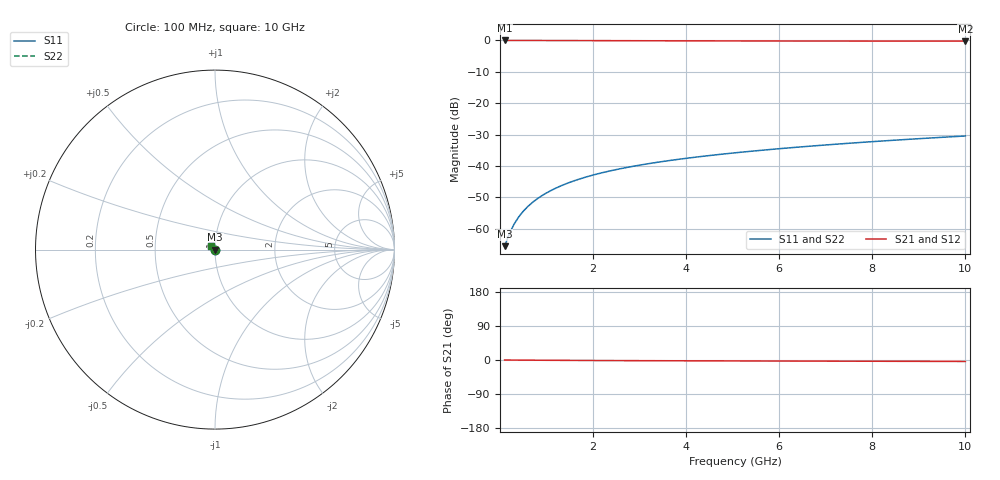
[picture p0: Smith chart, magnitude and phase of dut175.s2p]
! Touchstone file exported from HFSS 2024.1.0
!  File:  C:/UserFiles/LocalFiles/RDL_TSV_Batchsim/temp_TSV1_175_1779383585.aedt
!  Generated:  01:18:35 AM May 22, 2026
!  Design:  TSV1
!  Project:  temp_TSV1_175_1779383585
!  Setup:  Setup1
!  Solution:  Sweep
! Variables:
!  dtsv = 5.28um
!  hbump = 3um
!  htsv = 51.31um
!  lrdl = 252.1521522um
!  p = 40
!  p1 = 53.04um
!  t = 500um
!  trdl = 3um
!  wrdl = 24.89489489um
# GHz S MA R 50.000000
! Terminal data exported
! Port[1] = TSV22_T1
! Port[2] = TSV22_T2
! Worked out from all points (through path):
!   100 points, 100 MHz to 10 GHz, reference 50 ohm
!   highest |S21| = 0.00 dB at 100 MHz (marker M1); lowest = -0.2 dB at 10 GHz (marker M2)
!   lowest |S11| = -65.6 dB at 100 MHz (marker M3), VSWR 1.00, Z = 50 - j0.0381 ohm
!   |S11| at or under -10 dB: start of sweep to end of sweep
!   |S22| runs from -65.6 to -30.5 dB; largest |S21 - S12| = 2e-15
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0.1  0.0005239 -46.6  0.9996 -0.1  0.9996 -0.1  0.0005239 -46.6
! Gamma 0 0 0 0
! Port Impedance 50 0 50 0
0.2  0.0008205 -68.7  0.9995 -0.1  0.9995 -0.1  0.0008205 -68.7
0.3  0.001164 -80.1  0.9994 -0.2  0.9994 -0.2  0.001164 -80.1
0.4  0.001523 -87.3  0.9993 -0.3  0.9993 -0.3  0.001523 -87.3
0.5  0.001887 -92.8  0.9991 -0.4  0.9991 -0.4  0.001887 -92.8
0.6  0.002252 -97.3  0.9989 -0.4  0.9989 -0.4  0.002252 -97.3
0.7  0.002617 -101.3  0.9987 -0.5  0.9987 -0.5  0.002617 -101.3
0.8  0.00298 -104.9  0.9984 -0.6  0.9984 -0.6  0.00298 -104.9
0.9  0.003342 -108.3  0.9981 -0.6  0.9981 -0.6  0.003342 -108.3
1  0.003701 -111.5  0.9978 -0.7  0.9978 -0.7  0.003701 -111.5
1.2  0.004412 -117.6  0.9971 -0.8  0.9971 -0.8  0.004412 -117.6
1.5  0.005455 -125.9  0.9959 -1.0  0.9959 -1.0  0.005455 -125.9
1.8  0.006471 -133.6  0.9946 -1.2  0.9946 -1.2  0.006471 -133.6
2.1  0.007457 -140.7  0.9933 -1.4  0.9933 -1.4  0.007457 -140.7
2.5  0.00873 -149.6  0.9915 -1.5  0.9915 -1.5  0.00873 -149.6
2.9  0.00996 -157.6  0.9898 -1.7  0.9898 -1.7  0.00996 -157.6
3.4  0.01145 -166.6  0.9877 -1.9  0.9877 -1.9  0.01145 -166.6
4.2  0.01375 -179.0  0.9849 -2.2  0.9849 -2.2  0.01375 -179.0
5.1  0.01628 169.5  0.9823 -2.5  0.9823 -2.5  0.01628 169.5
6.7  0.02071 154.1  0.979 -2.9  0.979 -2.9  0.02071 154.1
8.4  0.02544 142.4  0.9767 -3.4  0.9767 -3.4  0.02544 142.4
10  0.02995 134.2  0.9751 -3.9  0.9751 -3.9  0.02995 134.2
